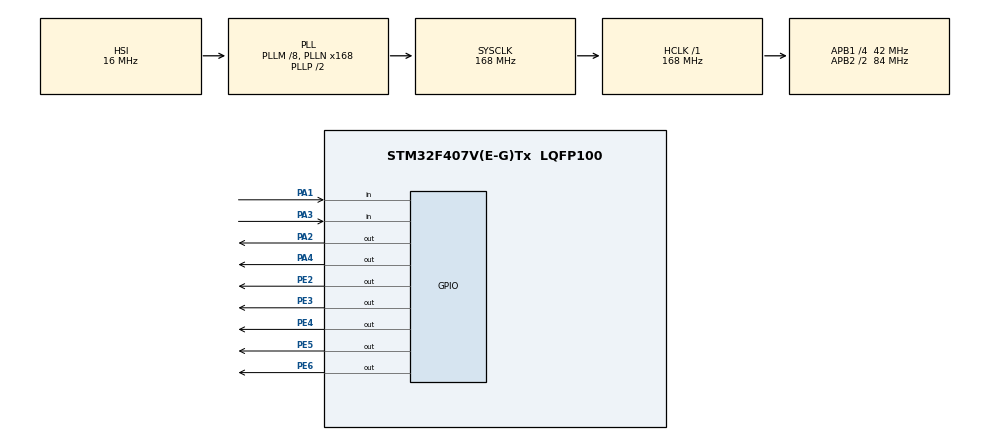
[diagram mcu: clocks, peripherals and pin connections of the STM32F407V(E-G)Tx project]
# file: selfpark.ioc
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Mcu.Family=STM32F4
Mcu.Name=STM32F407V(E-G)Tx
Mcu.Package=LQFP100
NVIC.PriorityGroup=NVIC_PRIORITYGROUP_0
PA1.Signal=GPIO_Input
PA2.Signal=GPIO_Output
PA3.Signal=GPIO_Input
PA4.Signal=GPIO_Output
PE2.Signal=GPIO_Output
PE3.Signal=GPIO_Output
PE4.Signal=GPIO_Output
PE5.Signal=GPIO_Output
PE6.Signal=GPIO_Output
ProjectManager.HeapSize=0x200
ProjectManager.StackSize=0x400
ProjectManager.TargetToolchain=STM32CubeIDE
RCC.48MHZClocksFreq_Value=48000000
RCC.AHBFreq_Value=168000000
RCC.APB1CLKDivider=RCC_HCLK_DIV4
RCC.APB1Freq_Value=42000000
RCC.APB1TimFreq_Value=84000000
RCC.APB2CLKDivider=RCC_HCLK_DIV2
RCC.APB2Freq_Value=84000000
RCC.APB2TimFreq_Value=168000000
RCC.CortexFreq_Value=168000000
RCC.HCLKFreq_Value=168000000
RCC.HSE_VALUE=8000000
RCC.HSI_VALUE=16000000
RCC.LSE_VALUE=32768
RCC.PLLM=8
RCC.PLLN=168
RCC.PLLQ=7
RCC.SYSCLKFreq_VALUE=168000000
RCC.SYSCLKSource=RCC_SYSCLKSOURCE_PLLCLK
RCC.VCOOutputFreq_Value=336000000
board=STM32F407G-DISC1

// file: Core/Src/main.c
/* USER CODE BEGIN Header */
/**
  ******************************************************************************
  * @file           : main.c
  * @brief          : Main program body
  ******************************************************************************
  * @attention
  *
  * <h2><center>&copy; Copyright (c) 2021 STMicroelectronics.
  * All rights reserved.</center></h2>
  *
  * This software component is licensed by ST under Ultimate Liberty license
  * SLA0044, the "License"; You may not use this file except in compliance with
  * the License. You may obtain a copy of the License at:
  *                             www.st.com/SLA0044
  *
  ******************************************************************************
  */
/* USER CODE END Header */
#include "main.h"

/* USER CODE BEGIN Includes */
#include "dwt_stm32_delay.h"
/* USER CODE END Includes */

void SystemClock_Config(void);
static void MX_GPIO_Init(void);

/* USER CODE BEGIN 0 */
uint32_t local_time, sensor_time;
uint32_t distance;

uint32_t hcsr04_read (void)
{
 local_time=0;
 HAL_GPIO_WritePin(GPIOA, GPIO_PIN_2, GPIO_PIN_RESET);  // pull the TRIG pin HIGH
 DWT_Delay_us(10); // wait for 2 us

 HAL_GPIO_WritePin(GPIOA, GPIO_PIN_2, GPIO_PIN_SET);  // pull the TRIG pin HIGH
 DWT_Delay_us(10);  // wait for 10 us
 HAL_GPIO_WritePin(GPIOA, GPIO_PIN_2, GPIO_PIN_RESET);  // pull the TRIG pin low

 // read the time for which the pin is high

 while (!(HAL_GPIO_ReadPin(GPIOA, GPIO_PIN_1)));  // wait for the ECHO pin to go high
 while (HAL_GPIO_ReadPin(GPIOA, GPIO_PIN_1))    // while the pin is high
  {
  local_time++;   // measure time for which the pin is high

  }
 return local_time / 2;
}
uint32_t local_time1, sensor_time1;
uint32_t distance1;

uint32_t hcsr04_read2 (void)
{
 local_time1=0;
 HAL_GPIO_WritePin(GPIOA, GPIO_PIN_4, GPIO_PIN_RESET);  // pull the TRIG pin HIGH
 DWT_Delay_us(10); // wait for 2 us

 HAL_GPIO_WritePin(GPIOA, GPIO_PIN_4, GPIO_PIN_SET);  // pull the TRIG pin HIGH
 DWT_Delay_us(10);  // wait for 10 us
 HAL_GPIO_WritePin(GPIOA, GPIO_PIN_4, GPIO_PIN_RESET);  // pull the TRIG pin low

 // read the time for which the pin is high

 while (!(HAL_GPIO_ReadPin(GPIOA, GPIO_PIN_3)));  // wait for the ECHO pin to go high
 while (HAL_GPIO_ReadPin(GPIOA, GPIO_PIN_3))    // while the pin is high
  {
  local_time1++;   // measure time for which the pin is high

  }
 return local_time1 / 2;
}

void forward(int delay)
{
	HAL_GPIO_WritePin(GPIOE, GPIO_PIN_All, GPIO_PIN_RESET);
	HAL_GPIO_WritePin(GPIOE, GPIO_PIN_3|GPIO_PIN_4, GPIO_PIN_SET);
	HAL_Delay(delay);
	HAL_GPIO_WritePin(GPIOE, GPIO_PIN_3|GPIO_PIN_4, GPIO_PIN_RESET);
}
void backward(int delay)
{
	HAL_GPIO_WritePin(GPIOE, GPIO_PIN_All, GPIO_PIN_RESET);
    HAL_GPIO_WritePin(GPIOE, GPIO_PIN_5|GPIO_PIN_2, GPIO_PIN_SET);
    HAL_Delay(delay);
	HAL_GPIO_WritePin(GPIOE, GPIO_PIN_5|GPIO_PIN_2, GPIO_PIN_RESET);
}
void right(int delay)
{
	HAL_GPIO_WritePin(GPIOE, GPIO_PIN_All, GPIO_PIN_RESET);
	HAL_GPIO_WritePin(GPIOE, GPIO_PIN_2, GPIO_PIN_SET);
	HAL_Delay(delay);
	HAL_GPIO_WritePin(GPIOE, GPIO_PIN_2, GPIO_PIN_RESET);
}
void left(int delay)
{
	HAL_GPIO_WritePin(GPIOE, GPIO_PIN_All, GPIO_PIN_RESET);
	HAL_GPIO_WritePin(GPIOE, GPIO_PIN_5, GPIO_PIN_SET);
	HAL_Delay(delay);
	HAL_GPIO_WritePin(GPIOE, GPIO_PIN_5, GPIO_PIN_RESET);
}
void stop(int delay)
{
	HAL_GPIO_WritePin(GPIOE, GPIO_PIN_All, GPIO_PIN_RESET);
	HAL_Delay(delay);
}

/* USER CODE END 0 */

int main(void)
{

  /* MCU Configuration--------------------------------------------------------*/

  /* Reset of all peripherals, Initializes the Flash interface and the Systick. */
  HAL_Init();

  /* Configure the system clock */
  SystemClock_Config();

  /* Initialize all configured peripherals */
  MX_GPIO_Init();
  /* USER CODE BEGIN 2 */
  DWT_Delay_Init();

 HAL_Delay(5000); //5 seconds wake up call
  /* USER CODE END 2 */

  /* Infinite loop */
  while (1)
  {

    /*USER CODE BEGIN */

  int park_flag = 1;
	   while(park_flag == 1)
	   {

		   forward(3000);
		   HAL_Delay(1000);

		   sensor_time1 = hcsr04_read2();
		   distance1  = sensor_time1 * 0.034 / 2;
		   sensor_time = hcsr04_read();
		   distance  = sensor_time * 0.034 / 2;
		   HAL_Delay(500);

		  if (distance > 50 && distance1 > 50)
		  {

			  stop(1000);

			  park_flag = 0;

			  HAL_Delay(3000);

          }

	   }

	   //Scenario

	   forward(500);

	   HAL_Delay(2000);

	   stop(1000);

	   HAL_Delay(1000);

	   left(400);

	   HAL_Delay(2000);

	   stop(1000);

	   HAL_Delay(1000);

	   backward(1000);

	   HAL_Delay(2000);

	   right(400);

	   HAL_Delay(2000);

	   forward(500);

	   HAL_Delay(2000);

	   backward(500);

	   stop(5000);

	   HAL_Delay(2000);

  /* USER CODE END 3 */
}
}

void SystemClock_Config(void)
{
  RCC_OscInitTypeDef RCC_OscInitStruct = {0};
  RCC_ClkInitTypeDef RCC_ClkInitStruct = {0};

  /** Configure the main internal regulator output voltage
  */
  __HAL_RCC_PWR_CLK_ENABLE();
  __HAL_PWR_VOLTAGESCALING_CONFIG(PWR_REGULATOR_VOLTAGE_SCALE1);
  /** Initializes the RCC Oscillators according to the specified parameters
  * in the RCC_OscInitTypeDef structure.
  */
  RCC_OscInitStruct.OscillatorType = RCC_OSCILLATORTYPE_HSI;
  RCC_OscInitStruct.HSIState = RCC_HSI_ON;
  RCC_OscInitStruct.HSICalibrationValue = RCC_HSICALIBRATION_DEFAULT;
  RCC_OscInitStruct.PLL.PLLState = RCC_PLL_ON;
  RCC_OscInitStruct.PLL.PLLSource = RCC_PLLSOURCE_HSI;
  RCC_OscInitStruct.PLL.PLLM = 8;
  RCC_OscInitStruct.PLL.PLLN = 168;
  RCC_OscInitStruct.PLL.PLLP = RCC_PLLP_DIV2;
  RCC_OscInitStruct.PLL.PLLQ = 7;
  if (HAL_RCC_OscConfig(&RCC_OscInitStruct) != HAL_OK)
  {
    Error_Handler();
  }
  /** Initializes the CPU, AHB and APB buses clocks
  */
  RCC_ClkInitStruct.ClockType = RCC_CLOCKTYPE_HCLK|RCC_CLOCKTYPE_SYSCLK
                              |RCC_CLOCKTYPE_PCLK1|RCC_CLOCKTYPE_PCLK2;
  RCC_ClkInitStruct.SYSCLKSource = RCC_SYSCLKSOURCE_PLLCLK;
  RCC_ClkInitStruct.AHBCLKDivider = RCC_SYSCLK_DIV1;
  RCC_ClkInitStruct.APB1CLKDivider = RCC_HCLK_DIV4;
  RCC_ClkInitStruct.APB2CLKDivider = RCC_HCLK_DIV2;

  if (HAL_RCC_ClockConfig(&RCC_ClkInitStruct, FLASH_LATENCY_5) != HAL_OK)
  {
    Error_Handler();
  }
}

static void MX_GPIO_Init(void)
{
  GPIO_InitTypeDef GPIO_InitStruct = {0};

  /* GPIO Ports Clock Enable */
  __HAL_RCC_GPIOE_CLK_ENABLE();
  __HAL_RCC_GPIOA_CLK_ENABLE();

  /*Configure GPIO pin Output Level */
  HAL_GPIO_WritePin(GPIOE, GPIO_PIN_2|GPIO_PIN_3|GPIO_PIN_4|GPIO_PIN_5, GPIO_PIN_RESET);

  /*Configure GPIO pin Output Level */
  HAL_GPIO_WritePin(GPIOA, GPIO_PIN_2|GPIO_PIN_4, GPIO_PIN_RESET);

  /*Configure GPIO pins : PE2 PE3 PE4 PE5 */
  GPIO_InitStruct.Pin = GPIO_PIN_2|GPIO_PIN_3|GPIO_PIN_4|GPIO_PIN_5;
  GPIO_InitStruct.Mode = GPIO_MODE_OUTPUT_PP;
  GPIO_InitStruct.Pull = GPIO_NOPULL;
  GPIO_InitStruct.Speed = GPIO_SPEED_FREQ_LOW;
  HAL_GPIO_Init(GPIOE, &GPIO_InitStruct);

  /*Configure GPIO pins : PA1 PA3 */
  GPIO_InitStruct.Pin = GPIO_PIN_1|GPIO_PIN_3;
  GPIO_InitStruct.Mode = GPIO_MODE_INPUT;
  GPIO_InitStruct.Pull = GPIO_NOPULL;
  HAL_GPIO_Init(GPIOA, &GPIO_InitStruct);

  /*Configure GPIO pins : PA2 PA4 */
  GPIO_InitStruct.Pin = GPIO_PIN_2|GPIO_PIN_4;
  GPIO_InitStruct.Mode = GPIO_MODE_OUTPUT_PP;
  GPIO_InitStruct.Pull = GPIO_NOPULL;
  GPIO_InitStruct.Speed = GPIO_SPEED_FREQ_LOW;
  HAL_GPIO_Init(GPIOA, &GPIO_InitStruct);

}

void Error_Handler(void)
{
  __disable_irq();
  while (1)
  {
  }
}

/************************ (C) COPYRIGHT STMicroelectronics *****END OF FILE****/
